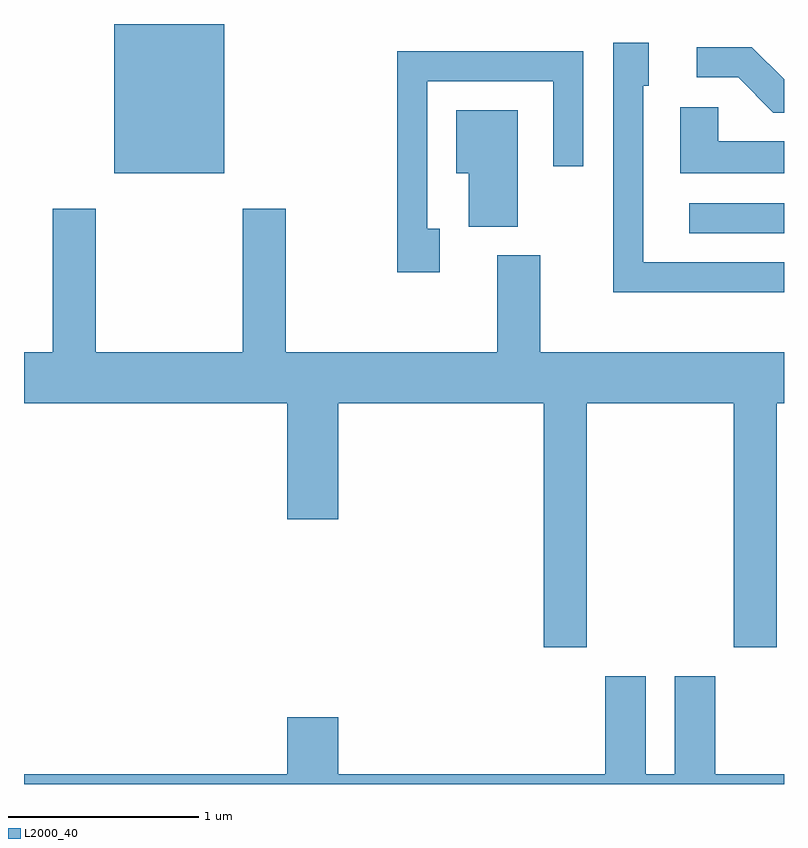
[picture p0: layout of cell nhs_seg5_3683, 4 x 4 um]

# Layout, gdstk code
import gdstk
lib = gdstk.Library(unit=1e-6, precision=1e-09)
def R(c, l, rs):  # rectangles x0, y0, x1, y1
    for r in rs: c.add(gdstk.rectangle(r[:2], r[2:], *l))
def P(c, l, *ps):  # polygons
    for p in ps: c.add(gdstk.Polygon(p, *l))
L2000_40 = (2000, 40)

nhs_seg5_3683 = lib.new_cell('nhs_seg5_3683')
R(nhs_seg5_3683, L2000_40, [(297.113,1510.971,297.611,1511.129), (294.086,1511.286,294.664,1512.072)])
P(nhs_seg5_3683, L2000_40, [(297.611,1510.819),(296.869,1510.819),(296.869,1511.746),(296.899,1511.746),(296.899,1511.974),(296.711,1511.974),(296.711,1510.661),(297.611,1510.661)],
  [(297.611,1511.78),(297.442,1511.949),(297.153,1511.949),(297.153,1511.791),(297.369,1511.791),(297.554,1511.606),(297.611,1511.606)],
  [(295.799,1510.994),(295.734,1510.994),(295.734,1511.771),(296.396,1511.771),(296.396,1511.323),(296.554,1511.323),(296.554,1511.929),(295.576,1511.929),(295.576,1510.766),(295.799,1510.766)],
  [(297.611,1511.454),(297.264,1511.454),(297.264,1511.634),(297.066,1511.634),(297.066,1511.286),(297.611,1511.286)],
  [(296.209,1511.619),(295.886,1511.619),(295.886,1511.286),(295.951,1511.286),(295.951,1511.006),(296.209,1511.006)],
  [(296.574,1510.076),(297.346,1510.076),(297.346,1508.791),(297.574,1508.791),(297.574,1510.076),(297.611,1510.076),(297.611,1510.344),(296.329,1510.344),(296.329,1510.854),(296.101,1510.854),(296.101,1510.344),(294.989,1510.344),(294.989,1511.099),(294.761,1511.099),(294.761,1510.344),(293.989,1510.344),(293.989,1511.099),(293.761,1511.099),(293.761,1510.344),(293.611,1510.344),(293.611,1510.076),(294.996,1510.076),(294.996,1509.466),(295.264,1509.466),(295.264,1510.076),(296.346,1510.076),(296.346,1508.791),(296.574,1508.791)],
  [(297.611,1508.124),(297.249,1508.124),(297.249,1508.639),(297.036,1508.639),(297.036,1508.124),(296.884,1508.124),(296.884,1508.639),(296.671,1508.639),(296.671,1508.124),(295.264,1508.124),(295.264,1508.424),(294.996,1508.424),(294.996,1508.124),(293.611,1508.124),(293.611,1508.072),(297.611,1508.072)])

lib.write_gds('nhs_seg5_3683.gds')
